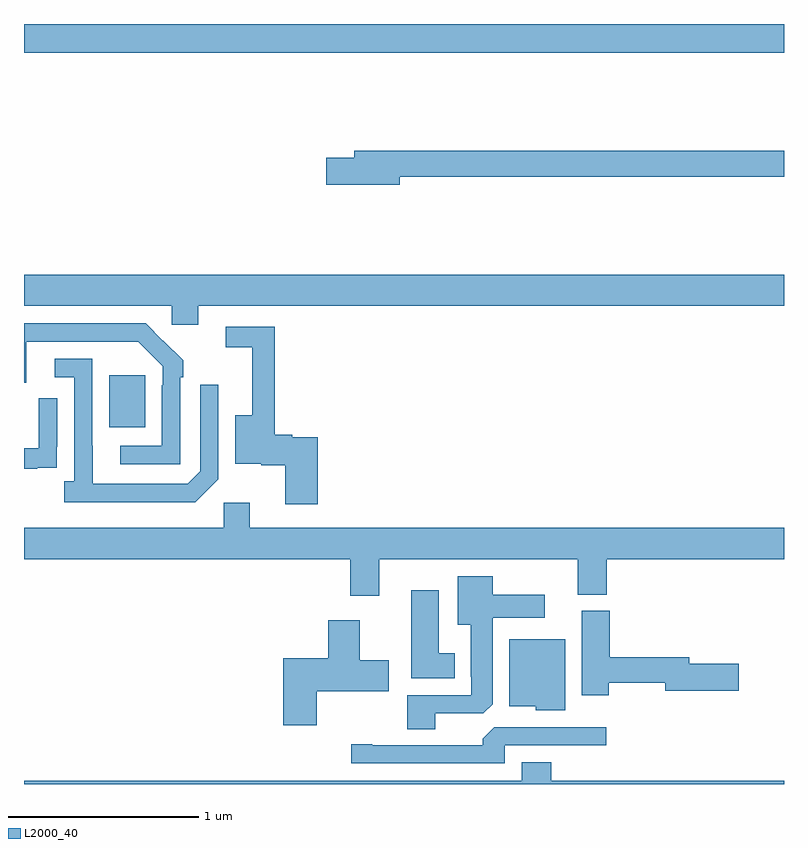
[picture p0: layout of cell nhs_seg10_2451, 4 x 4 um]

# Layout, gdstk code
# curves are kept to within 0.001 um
import gdstk
lib = gdstk.Library(unit=1e-6, precision=1e-09)
def R(c, l, rs):  # rectangles x0, y0, x1, y1
    for r in rs: c.add(gdstk.rectangle(r[:2], r[2:], *l))
def P(c, l, *ps):  # polygons
    for p in ps: c.add(gdstk.Polygon(p, *l))
L2000_40 = (2000, 40)

nhs_seg10_2451 = lib.new_cell('nhs_seg10_2451')
R(nhs_seg10_2451, L2000_40, [(243.449,1266.377,243.637,1266.652), (243,1268.348,247,1268.5)])
P(nhs_seg10_2451, L2000_40, [(244.978,1267.696),(247,1267.696),(247,1267.832),(244.739,1267.832),(244.739,1267.796),(244.59,1267.796),(244.59,1267.654),(244.978,1267.654)],
  [(243.916,1267.016),(247,1267.016),(247,1267.18),(243,1267.18),(243,1267.016),(243.777,1267.016),(243.777,1266.918),(243.916,1266.918)],
  [(243.822,1266.641),(243.837,1266.641),(243.837,1266.729),(243.64,1266.924),(243,1266.924),(243,1266.612),(243.013,1266.612),(243.013,1266.828),(243.601,1266.828),(243.729,1266.699),(243.729,1266.599),(243.726,1266.599),(243.726,1266.279),(243.507,1266.279),(243.507,1266.183),(243.822,1266.183)],
  [(244.547,1266.325),(244.413,1266.325),(244.413,1266.338),(244.319,1266.338),(244.319,1266.906),(244.062,1266.906),(244.062,1266.798),(244.202,1266.798),(244.202,1266.442),(244.112,1266.442),(244.112,1266.185),(244.248,1266.185),(244.248,1266.178),(244.376,1266.178),(244.376,1265.973),(244.547,1265.973)],
  [(244.023,1266.105),(244.023,1266.601),(243.927,1266.601),(243.927,1266.147),(243.861,1266.081),(243.361,1266.081),(243.36,1266.738),(243.162,1266.738),(243.162,1266.642),(243.264,1266.642),(243.264,1266.094),(243.213,1266.094),(243.213,1265.984),(243.902,1265.984)],
  [(243.071,1266.165),(243.173,1266.165),(243.173,1266.274),(243.174,1266.274),(243.174,1266.529),(243.078,1266.529),(243.078,1266.267),(243,1266.267),(243,1266.159),(243.071,1266.159)],
  [(244.87,1265.684),(245.915,1265.684),(245.915,1265.497),(246.068,1265.497),(246.068,1265.684),(247,1265.684),(247,1265.848),(244.189,1265.848),(244.189,1265.98),(244.05,1265.98),(244.05,1265.848),(243,1265.848),(243,1265.684),(244.718,1265.684),(244.718,1265.49),(244.87,1265.49)],
  [(245.164,1264.872),(245.418,1264.872),(245.467,1264.921),(245.467,1265.375),(245.74,1265.375),(245.74,1265.497),(245.467,1265.497),(245.467,1265.593),(245.282,1265.593),(245.282,1265.339),(245.351,1265.339),(245.351,1265.065),(245.355,1265.065),(245.355,1264.968),(245.017,1264.968),(245.017,1264.789),(245.164,1264.789)],
  [(245.266,1265.188),(245.182,1265.188),(245.182,1265.521),(245.039,1265.521),(245.039,1265.057),(245.266,1265.057)],
  [(246.078,1265.032),(246.374,1265.032),(246.374,1264.99),(246.763,1264.99),(246.763,1265.132),(246.502,1265.132),(246.502,1265.168),(246.083,1265.168),(246.083,1265.412),(245.936,1265.412),(245.936,1264.968),(246.078,1264.968)],
  [(244.542,1264.988),(244.921,1264.988),(244.921,1265.151),(244.768,1265.151),(244.768,1265.362),(244.601,1265.362),(244.601,1265.161),(244.364,1265.161),(244.364,1264.809),(244.542,1264.809)],
  [(245.848,1265.263),(245.555,1265.263),(245.555,1264.91),(245.694,1264.91),(245.694,1264.889),(245.848,1264.889)],
  [(245.529,1264.704),(246.064,1264.704),(246.064,1264.8),(245.475,1264.8),(245.414,1264.738),(245.414,1264.704),(244.834,1264.704),(244.834,1264.709),(244.722,1264.709),(244.722,1264.608),(245.529,1264.608)],
  [(247,1264.516),(245.774,1264.516),(245.774,1264.615),(245.621,1264.615),(245.621,1264.516),(243,1264.516),(243,1264.5),(247,1264.5)])

lib.write_gds('nhs_seg10_2451.gds')
